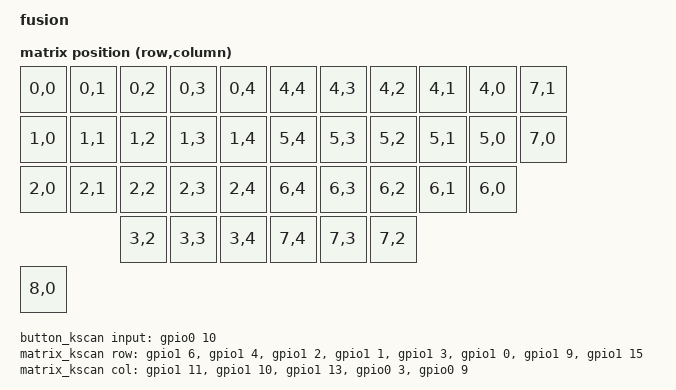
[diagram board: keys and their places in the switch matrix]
/*
 * Copyright (c) 2020 Pete Johanson
 *
 * SPDX-License-Identifier: MIT
 */

/dts-v1/;
#include <nordic/nrf52840_qiaa.dtsi>
#include <dt-bindings/zmk/matrix_transform.h>

/ {
    model = "fusion";
    compatible = "fusion";

    chosen {
        zephyr,code-partition = &code_partition;
        zephyr,sram = &sram0;
        zephyr,flash = &flash0;
        zephyr,display = &sharp;
        zmk,kscan = &composite_kscan;
        zmk,matrix_transform = &transform;
        zmk,steno_flash = &spi_flash;
        zmk,led-widgets-dev = &leds;
    };

    transform: transform {
        compatible = "zmk,matrix-transform";
        columns = <11>;
        rows = <4>;
        map = <
RC(0,0) RC(0,1) RC(0,2) RC(0,3) RC(0,4)  RC(4,4) RC(4,3) RC(4,2) RC(4,1) RC(4,0) RC(7,1)
RC(1,0) RC(1,1) RC(1,2) RC(1,3) RC(1,4)  RC(5,4) RC(5,3) RC(5,2) RC(5,1) RC(5,0) RC(7,0)
RC(2,0) RC(2,1) RC(2,2) RC(2,3) RC(2,4)  RC(6,4) RC(6,3) RC(6,2) RC(6,1) RC(6,0)
                RC(3,2) RC(3,3) RC(3,4)  RC(7,4) RC(7,3) RC(7,2)
RC(8,0)
        >;
    };

    composite_kscan: kscan {
        compatible = "zmk,kscan-composite";
        label = "composite_kscan";
        rows = <9>;
        columns = <5>;
        matrix_kscan {
            label = "matrix_kscan";
            kscan = <&matrix_kscan>;
        };
        button_kscan {
            label = "button_kscan";
            kscan = <&button_kscan>;
            row-offset = <8>;
        };
    };

    button_kscan: kscan1 {
        compatible = "zmk,kscan-gpio-direct";
        label = "button_kscan";
        input-gpios = <&gpio0 10 (GPIO_ACTIVE_LOW | GPIO_PULL_UP)>;
    };

    matrix_kscan: kscan0 {
        compatible = "zmk,kscan-gpio-matrix";
        label = "matrix_kscan";
        diode-direction = "row2col";
        row-gpios
            = <&gpio1  6 GPIO_ACTIVE_HIGH>
            , <&gpio1  4 GPIO_ACTIVE_HIGH>
            , <&gpio1  2 GPIO_ACTIVE_HIGH>
            , <&gpio1  1 GPIO_ACTIVE_HIGH>
            , <&gpio1  3 GPIO_ACTIVE_HIGH>
            , <&gpio1  0 GPIO_ACTIVE_HIGH>
            , <&gpio1  9 GPIO_ACTIVE_HIGH>
            , <&gpio1 15 GPIO_ACTIVE_HIGH>
            ;
        col-gpios
            = <&gpio1 11 (GPIO_ACTIVE_HIGH | GPIO_PULL_DOWN)>
            , <&gpio1 10 (GPIO_ACTIVE_HIGH | GPIO_PULL_DOWN)>
            , <&gpio1 13 (GPIO_ACTIVE_HIGH | GPIO_PULL_DOWN)>
            , <&gpio0  3 (GPIO_ACTIVE_HIGH | GPIO_PULL_DOWN)>
            , <&gpio0  9 (GPIO_ACTIVE_HIGH | GPIO_PULL_DOWN)>
            ;
    };

    leds: leds {
        compatible = "pwm-leds";
        red_led: led_r {
            pwms = <&pwm0 23>;
            label = "Red LED";
        };
        green_led: led_g {
            pwms = <&pwm0 21>;
            label = "Green LED";
        };
        blue_led: led_b {
            pwms = <&pwm0 19>;
            label = "Blue LED";
        };
    };

    vbatt {
        compatible = "zmk,battery-voltage-divider";
        label = "BATTERY";
        io-channels = <&adc 7>;
        output-ohms = <1>;
        full-ohms = <(1 + 1)>;
    };

    led-widgets {
        compatible = "zmk,led-widgets";
        boot {
            boot {
                priority = <100>;
                blue { len-ms = <100>; brightness = <0 0 50>; };
                off { len-ms = <100>; };
                blue2 { len-ms = <100>; brightness = <0 0 50>; };
            };
        };
        battery {
            low {
                arg = <30>;
                priority = <50>;
                period-ms = <30000>;
                green { len-ms = <100>; brightness = <0 20 0>; };
                red { len-ms = <200>; brightness = <100 0 0>; };
            };
            mid {
                arg = <70>;
                priority = <50>;
                period-ms = <30000>;
                green { len-ms = <100>; brightness = <0 20 0>; };
                yellow { len-ms = <200>; brightness = <100 100 0>; };
            };
            high {
                arg = <100>;
                priority = <50>;
                period-ms = <30000>;
                green { len-ms = <50>; brightness = <0 100 0>; };
            };
        };
        layer {
            lower {
                arg = <1>;
                priority = <20>;
                stat { brightness = <0 0 20>; };
            };
            raise {
                arg = <2>;
                priority = <20>;
                stat { brightness = <0 20 0>; };
            };
            game {
                arg = <3>;
                priority = <20>;
                stat { brightness = <0 0 50>; };
            };
            steno {
                arg = <4>;
                priority = <20>;
                stat { brightness = <50 0 0>; };
            };
        };
        output {
            usb {
                arg = <0>;
                priority = <100>;
                stat { len-ms = <200>; brightness = <0 75 0>; };
            };
            ble {
                arg = <1>;
                priority = <100>;
                stat { len-ms = <200>; brightness = <0 0 100>; };
            };
        };
        profile {
            0 {
                arg = <0>;
                priority = <90>;
                head { len-ms = <50>; brightness = <0 0 50>; };
                off { len-ms = <150>; };
                tail { len-ms = <100>; brightness = <100 0 0>; };
            };
            1 {
                arg = <1>;
                priority = <90>;
                head { len-ms = <50>; brightness = <0 0 50>; };
                off { len-ms = <150>; };
                tail { len-ms = <100>; brightness = <0 100 0>; };
            };
            2 {
                arg = <2>;
                priority = <90>;
                head { len-ms = <50>; brightness = <0 0 50>; };
                off { len-ms = <150>; };
                tail { len-ms = <100>; brightness = <0 0 100>; };
            };
        };
    };
};

&pwm0 {
    status = "okay";
    ch0-pin = <23>;
    ch1-pin = <21>;
    ch2-pin = <19>;
    ch0-inverted;
    ch1-inverted;
    ch2-inverted;
};

&adc {
    status = "okay";
};

&gpiote {
    status = "okay";
};

&gpio0 {
    status = "okay";
};

&gpio1 {
    status = "okay";
};

&usbd {
    status = "okay";
};


&flash0 {
    /*
     * For more information, see:
     * http://docs.zephyrproject.org/latest/devices/dts/flash_partitions.html
     */
    partitions {
        compatible = "fixed-partitions";
        #address-cells = <1>;
        #size-cells = <1>;

        code_partition: partition@0 {
            label = "code_partition";
            reg = <0x00000000 0x000e0000>;
        };

        /*
         * Storage partition will be used by FCB/LittleFS/NVS
         * if enabled.
         */
        storage_partition: partition@e0000 {
            label = "storage";
            reg = <0x000e0000 0x00020000>;
        };
    };
};

&spi0 {
    compatible = "nordic,nrf-spim";
    status = "okay";
    sck-pin = <7>;
    mosi-pin = <5>;
    miso-pin = <4>;

    cs-gpios = <&gpio0 2 GPIO_ACTIVE_HIGH>, <&gpio0 12 GPIO_ACTIVE_LOW>, <&gpio0 30 GPIO_ACTIVE_LOW>;
    sharp: sharp_lcd@0 {
        compatible = "sharp,ls0xx";
        label = "DISPLAY";
        reg = <0>;
        status = "okay";
        spi-max-frequency = <1000000>;
        height = <168>;
        width = <144>;
    };
    spi_flash: flash@1 {
        compatible = "jedec,spi-nor";
        status = "okay";
        reg = <1>;
        spi-max-frequency = <8000000>;
        label = "MT25Q";
        jedec-id = [ef 40 18];
        size = <0x8000000>;
        has-dpd;
        t-enter-dpd = <3000>;
        t-exit-dpd = <30000>;
    };
    trackpad@2 {
        compatible = "cirque,pinnacle";
        status = "okay";
        reg = <2>;
        spi-max-frequency = <10000000>;
        dr-gpios = <&gpio0 22 GPIO_ACTIVE_HIGH>;
        invert-x;
        sleep;
        /* no-taps; */
    };
};
